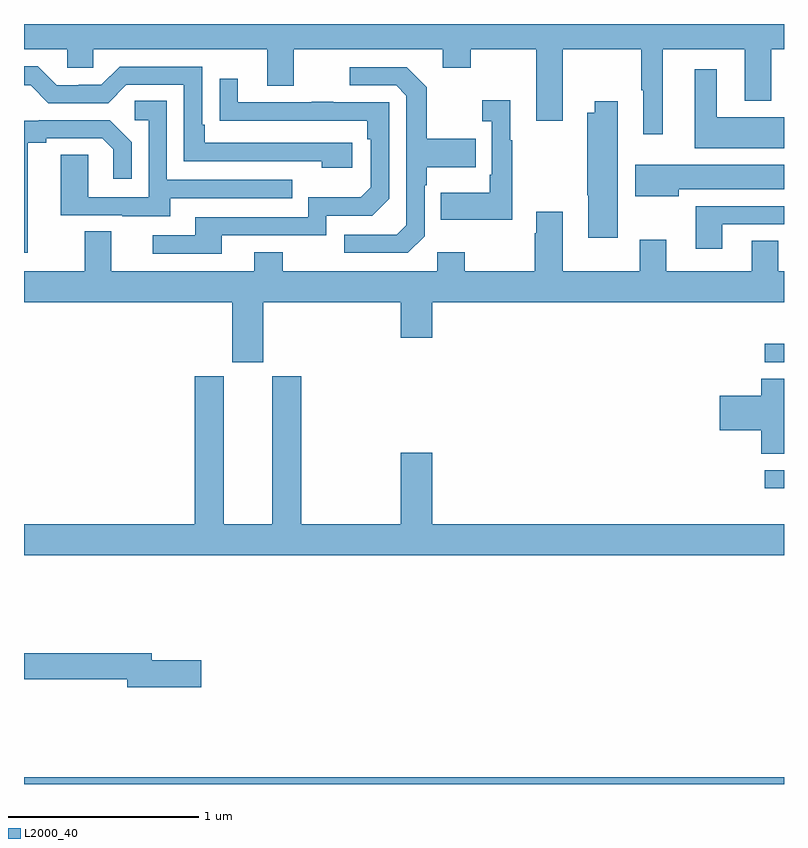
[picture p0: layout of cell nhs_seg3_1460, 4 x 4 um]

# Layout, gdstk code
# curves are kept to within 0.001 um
import gdstk
lib = gdstk.Library(unit=1e-6, precision=1e-09)
def R(c, l, rs):  # rectangles x0, y0, x1, y1
    for r in rs: c.add(gdstk.rectangle(r[:2], r[2:], *l))
def P(c, l, *ps):  # polygons
    for p in ps: c.add(gdstk.Polygon(p, *l))
L2000_40 = (2000, 40)

nhs_seg3_1460 = lib.new_cell('nhs_seg3_1460')
R(nhs_seg3_1460, L2000_40, [(187,678.4,191,678.436), (190.899,679.956,191,680.052), (190.899,680.619,191,680.718)])
P(nhs_seg3_1460, L2000_40, [(190.363,682.268),(190.793,682.268),(190.793,681.995),(190.933,681.995),(190.933,682.268),(191,682.268),(191,682.4),(187,682.4),(187,682.268),(187.227,682.268),(187.227,682.17),(187.365,682.17),(187.365,682.268),(188.279,682.268),(188.279,682.074),(188.419,682.074),(188.419,682.268),(189.203,682.268),(189.203,682.169),(189.351,682.169),(189.351,682.268),(189.695,682.268),(189.695,681.891),(189.835,681.891),(189.835,682.268),(190.249,682.268),(190.249,682.052),(190.259,682.052),(190.259,681.819),(190.363,681.819)],
  [(188.728,681.774),(187.951,681.774),(187.951,681.871),(187.938,681.871),(187.938,682.176),(187.503,682.176),(187.407,682.08),(187.289,682.08),(187.289,682.077),(187.173,682.077),(187.073,682.177),(187,682.177),(187,682.077),(187.035,682.077),(187.128,681.984),(187.443,681.984),(187.539,682.08),(187.842,682.08),(187.842,681.678),(188.567,681.678),(188.567,681.644),(188.728,681.644)],
  [(189.108,681.282),(189.108,681.551),(189.121,681.551),(189.121,681.647),(189.377,681.647),(189.377,681.795),(189.121,681.795),(189.121,682.067),(189.015,682.173),(188.715,682.173),(188.715,682.077),(188.958,682.077),(189.012,682.023),(189.012,681.342),(188.961,681.291),(188.685,681.291),(188.685,681.195),(189.021,681.195)],
  [(191,681.91),(190.645,681.91),(190.645,682.162),(190.529,682.162),(190.529,681.746),(191,681.746)],
  [(188.041,681.288),(188.592,681.288),(188.592,681.39),(188.832,681.39),(188.922,681.48),(188.922,681.987),(188.627,681.987),(188.627,681.992),(188.515,681.992),(188.515,681.987),(188.125,681.987),(188.125,682.111),(188.029,682.111),(188.029,681.892),(188.806,681.891),(188.806,681.794),(188.826,681.794),(188.826,681.54),(188.773,681.487),(188.496,681.487),(188.496,681.384),(187.901,681.384),(187.901,681.288),(187.677,681.288),(187.677,681.192),(188.041,681.192)],
  [(189.571,681.787),(189.559,681.787),(189.559,682),(189.411,682),(189.411,681.887),(189.462,681.887),(189.462,681.607),(189.45,681.607),(189.45,681.511),(189.193,681.511),(189.193,681.371),(189.571,681.371)],
  [(187.771,681.483),(188.411,681.483),(188.411,681.579),(187.752,681.579),(187.752,681.995),(187.584,681.995),(187.584,681.894),(187.656,681.894),(187.656,681.489),(187.338,681.489),(187.338,681.713),(187.193,681.713),(187.193,681.393),(187.517,681.393),(187.517,681.389),(187.771,681.389)],
  [(190.126,681.994),(190.004,681.994),(190.004,681.934),(189.964,681.934),(189.964,681.499),(189.971,681.499),(189.971,681.276),(190.126,681.276)],
  [(187.021,681.776),(187.117,681.776),(187.117,681.798),(187.412,681.798),(187.469,681.741),(187.469,681.585),(187.566,681.585),(187.566,681.778),(187.45,681.894),(187.078,681.894),(187.078,681.891),(187,681.891),(187,681.195),(187.021,681.195)],
  [(190.447,681.53),(191,681.53),(191,681.658),(190.218,681.658),(190.218,681.494),(190.447,681.494)],
  [(190.675,681.345),(191,681.345),(191,681.441),(190.535,681.441),(190.535,681.216),(190.675,681.216)],
  [(191,681.1),(190.969,681.1),(190.969,681.26),(190.829,681.26),(190.829,681.1),(190.381,681.1),(190.381,681.265),(190.241,681.265),(190.241,681.1),(189.835,681.1),(189.835,681.412),(189.695,681.412),(189.695,681.299),(189.688,681.299),(189.688,681.1),(189.321,681.1),(189.321,681.199),(189.174,681.199),(189.174,681.1),(188.361,681.1),(188.361,681.199),(188.213,681.199),(188.213,681.1),(187.459,681.1),(187.459,681.308),(187.319,681.308),(187.319,681.1),(187,681.1),(187,680.936),(188.096,680.936),(188.096,680.619),(188.26,680.619),(188.26,680.936),(188.984,680.936),(188.984,680.748),(189.148,680.748),(189.148,680.936),(191,680.936)],
  [(191,679.768),(189.148,679.768),(189.148,680.143),(188.984,680.143),(188.984,679.768),(188.459,679.768),(188.459,680.547),(188.306,680.547),(188.306,679.768),(188.05,679.768),(188.05,680.547),(187.898,680.547),(187.898,679.768),(187,679.768),(187,679.604),(191,679.604)],
  [(191,680.534),(190.88,680.534),(190.88,680.444),(190.662,680.444),(190.662,680.261),(190.88,680.261),(190.88,680.137),(191,680.137)],
  [(187.933,679.052),(187.672,679.052),(187.672,679.088),(187,679.088),(187,678.952),(187.544,678.952),(187.544,678.91),(187.933,678.91)])

lib.write_gds('nhs_seg3_1460.gds')
